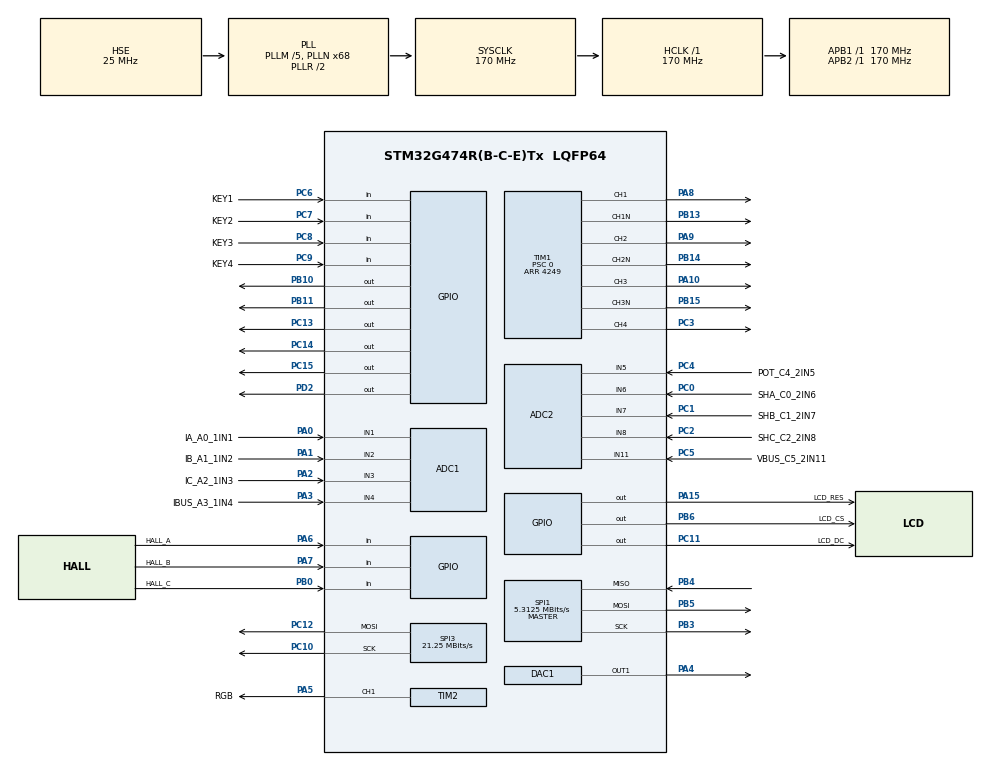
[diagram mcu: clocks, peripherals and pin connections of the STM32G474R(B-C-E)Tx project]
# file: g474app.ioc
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ADC1.ContinuousConvMode=DISABLE
ADC1.EnableInjectedConversion=ENABLE
ADC1.EnableRegularConversion=DISABLE
ADC1.ExternalTrigInjecConv=ADC_EXTERNALTRIGINJEC_T1_TRGO2
ADC1.InjNumberOfConversion=3
ADC1.InjectedChannel-7\#ChannelInjectedConversion=ADC_CHANNEL_1
ADC1.InjectedChannel-8\#ChannelInjectedConversion=ADC_CHANNEL_2
ADC1.InjectedChannel-9\#ChannelInjectedConversion=ADC_CHANNEL_3
ADC1.InjectedOffsetNumber-7\#ChannelInjectedConversion=ADC_OFFSET_NONE
ADC1.InjectedOffsetNumber-8\#ChannelInjectedConversion=ADC_OFFSET_NONE
ADC1.InjectedOffsetNumber-9\#ChannelInjectedConversion=ADC_OFFSET_NONE
ADC1.InjectedRank-7\#ChannelInjectedConversion=1
ADC1.InjectedRank-8\#ChannelInjectedConversion=2
ADC1.InjectedRank-9\#ChannelInjectedConversion=3
ADC1.InjectedSamplingTime-7\#ChannelInjectedConversion=ADC_SAMPLETIME_6CYCLES_5
ADC1.InjectedSamplingTime-8\#ChannelInjectedConversion=ADC_SAMPLETIME_6CYCLES_5
ADC1.InjectedSamplingTime-9\#ChannelInjectedConversion=ADC_SAMPLETIME_6CYCLES_5
ADC1.Rank1_Channel=ADC_CHANNEL_1
ADC1.Rank2_Channel=ADC_CHANNEL_2
ADC1.Rank3_Channel=ADC_CHANNEL_3
ADC1.Rank4_Channel=ADC_CHANNEL_4
ADC1.master=1
ADC2.Channel-0\#ChannelRegularConversion=ADC_CHANNEL_5
ADC2.ContinuousConvMode=DISABLE
ADC2.DiscontinuousConvMode=DISABLE
ADC2.NbrOfConversion=1
ADC2.NbrOfConversionFlag=1
ADC2.OffsetNumber-0\#ChannelRegularConversion=ADC_OFFSET_NONE
ADC2.Rank-0\#ChannelRegularConversion=1
ADC2.SamplingTime-0\#ChannelRegularConversion=ADC_SAMPLETIME_2CYCLES_5
Dma.Request0=SPI3_TX
Dma.Request1=TIM2_CH1
Dma.SPI3_TX.0.Direction=DMA_MEMORY_TO_PERIPH
Dma.SPI3_TX.0.EventEnable=DISABLE
Dma.SPI3_TX.0.Instance=DMA1_Channel1
Dma.SPI3_TX.0.MemDataAlignment=DMA_MDATAALIGN_BYTE
Dma.SPI3_TX.0.MemInc=DMA_MINC_ENABLE
Dma.SPI3_TX.0.Mode=DMA_NORMAL
Dma.SPI3_TX.0.PeriphDataAlignment=DMA_PDATAALIGN_BYTE
Dma.SPI3_TX.0.PeriphInc=DMA_PINC_DISABLE
Dma.SPI3_TX.0.Polarity=HAL_DMAMUX_REQ_GEN_RISING
Dma.SPI3_TX.0.Priority=DMA_PRIORITY_MEDIUM
Dma.SPI3_TX.0.RequestNumber=1
Dma.SPI3_TX.0.SignalID=NONE
Dma.SPI3_TX.0.SyncEnable=DISABLE
Dma.SPI3_TX.0.SyncPolarity=HAL_DMAMUX_SYNC_NO_EVENT
Dma.SPI3_TX.0.SyncRequestNumber=1
Dma.SPI3_TX.0.SyncSignalID=NONE
Dma.TIM2_CH1.1.Direction=DMA_MEMORY_TO_PERIPH
Dma.TIM2_CH1.1.EventEnable=DISABLE
Dma.TIM2_CH1.1.Instance=DMA1_Channel2
Dma.TIM2_CH1.1.MemDataAlignment=DMA_MDATAALIGN_WORD
Dma.TIM2_CH1.1.MemInc=DMA_MINC_ENABLE
Dma.TIM2_CH1.1.Mode=DMA_CIRCULAR
Dma.TIM2_CH1.1.PeriphDataAlignment=DMA_PDATAALIGN_WORD
Dma.TIM2_CH1.1.PeriphInc=DMA_PINC_DISABLE
Dma.TIM2_CH1.1.Polarity=HAL_DMAMUX_REQ_GEN_RISING
Dma.TIM2_CH1.1.Priority=DMA_PRIORITY_HIGH
Dma.TIM2_CH1.1.RequestNumber=1
Dma.TIM2_CH1.1.SignalID=NONE
Dma.TIM2_CH1.1.SyncEnable=DISABLE
Dma.TIM2_CH1.1.SyncPolarity=HAL_DMAMUX_SYNC_NO_EVENT
Dma.TIM2_CH1.1.SyncRequestNumber=1
Dma.TIM2_CH1.1.SyncSignalID=NONE
Mcu.Family=STM32G4
Mcu.Name=STM32G474R(B-C-E)Tx
Mcu.Package=LQFP64
NVIC.ADC1_2_IRQn=true\:0\:0\:false\:false\:true\:true\:true\:true
NVIC.DMA1_Channel1_IRQn=true\:2\:0\:false\:false\:true\:false\:true\:true
NVIC.DMA1_Channel2_IRQn=true\:0\:0\:false\:false\:true\:false\:true\:true
NVIC.PriorityGroup=NVIC_PRIORITYGROUP_4
NVIC.TIM1_UP_TIM16_IRQn=true\:0\:0\:false\:false\:true\:true\:true\:true
NVIC.TIM6_DAC_IRQn=true\:0\:0\:false\:false\:true\:true\:true\:true
NVIC.TIM7_DAC_IRQn=true\:0\:0\:false\:false\:true\:true\:true\:true
PA0.GPIO_Label=IA_A0_1IN1
PA0.Mode=IN1-Single-Ended
PA0.Signal=ADC1_IN1
PA1.GPIO_Label=IB_A1_1IN2
PA1.Mode=IN2-Single-Ended
PA1.Signal=ADC1_IN2
PA10.Signal=S_TIM1_CH3
PA13.Mode=Serial_Wire
PA13.Signal=SYS_JTMS-SWDIO
PA14.Mode=Serial_Wire
PA14.Signal=SYS_JTCK-SWCLK
PA15.GPIO_Label=LCD_RES
PA15.Signal=GPIO_Output
PA2.GPIO_Label=IC_A2_1IN3
PA2.Mode=IN3-Single-Ended
PA2.Signal=ADC1_IN3
PA3.GPIO_Label=IBUS_A3_1IN4
PA3.Mode=IN4-Single-Ended
PA3.Signal=ADC1_IN4
PA4.Signal=COMP_DAC11_group
PA5.GPIO_Label=RGB
PA5.GPIO_Speed=GPIO_SPEED_FREQ_HIGH
PA5.Signal=S_TIM2_CH1
PA6.GPIO_Label=HALL_A
PA6.GPIO_PuPd=GPIO_PULLUP
PA6.Signal=GPIO_Input
PA7.GPIO_Label=HALL_B
PA7.GPIO_PuPd=GPIO_PULLUP
PA7.Signal=GPIO_Input
PA8.Signal=S_TIM1_CH1
PA9.Signal=S_TIM1_CH2
PB0.GPIO_Label=HALL_C
PB0.GPIO_PuPd=GPIO_PULLUP
PB0.Signal=GPIO_Input
PB10.Signal=GPIO_Output
PB11.Signal=GPIO_Output
PB13.Mode=PWM Generation1 CH1 CH1N
PB13.Signal=TIM1_CH1N
PB14.Mode=PWM Generation2 CH2 CH2N
PB14.Signal=TIM1_CH2N
PB15.Mode=PWM Generation3 CH3 CH3N
PB15.Signal=TIM1_CH3N
PB3.Mode=Full_Duplex_Master
PB3.Signal=SPI1_SCK
PB4.Mode=Full_Duplex_Master
PB4.Signal=SPI1_MISO
PB5.GPIO_PuPd=GPIO_PULLUP
PB5.Mode=Full_Duplex_Master
PB5.Signal=SPI1_MOSI
PB6.GPIO_Label=LCD_CS
PB6.Signal=GPIO_Output
PC0.GPIO_Label=SHA_C0_2IN6
PC0.Mode=IN6-Single-Ended
PC0.Signal=ADC2_IN6
PC1.GPIO_Label=SHB_C1_2IN7
PC1.Mode=IN7-Single-Ended
PC1.Signal=ADC2_IN7
PC10.Mode=TX_Only_Simplex_Unidirect_Master
PC10.Signal=SPI3_SCK
PC11.GPIO_Label=LCD_DC
PC11.Signal=GPIO_Output
PC12.Mode=TX_Only_Simplex_Unidirect_Master
PC12.Signal=SPI3_MOSI
PC13.Signal=GPIO_Output
PC14-OSC32_IN.Signal=GPIO_Output
PC15-OSC32_OUT.Signal=GPIO_Output
PC2.GPIO_Label=SHC_C2_2IN8
PC2.Mode=IN8-Single-Ended
PC2.Signal=ADC2_IN8
PC3.Signal=S_TIM1_CH4
PC4.GPIO_Label=POT_C4_2IN5
PC4.Mode=IN5-Single-Ended
PC4.Signal=ADC2_IN5
PC5.GPIO_Label=VBUS_C5_2IN11
PC5.Mode=IN11-Single-Ended
PC5.Signal=ADC2_IN11
PC6.GPIO_Label=KEY1
PC6.Signal=GPIO_Input
PC7.GPIO_Label=KEY2
PC7.Signal=GPIO_Input
PC8.GPIO_Label=KEY3
PC8.Signal=GPIO_Input
PC9.GPIO_Label=KEY4
PC9.Signal=GPIO_Input
PD2.Signal=GPIO_Output
PF0-OSC_IN.Mode=HSE-External-Oscillator
PF0-OSC_IN.Signal=RCC_OSC_IN
PF1-OSC_OUT.Mode=HSE-External-Oscillator
PF1-OSC_OUT.Signal=RCC_OSC_OUT
ProjectManager.HeapSize=0x200
ProjectManager.StackSize=0x400
ProjectManager.TargetToolchain=MDK-ARM V5.32
RCC.ADC12Freq_Value=170000000
RCC.ADC345Freq_Value=170000000
RCC.AHBFreq_Value=170000000
RCC.APB1Freq_Value=170000000
RCC.APB1TimFreq_Value=170000000
RCC.APB2Freq_Value=170000000
RCC.APB2TimFreq_Value=170000000
RCC.CortexFreq_Value=170000000
RCC.EXTERNAL_CLOCK_VALUE=12288000
RCC.HCLKFreq_Value=170000000
RCC.HSE_VALUE=25000000
RCC.HSI48_VALUE=48000000
RCC.HSI_VALUE=16000000
RCC.LSE_VALUE=32768
RCC.PLLM=RCC_PLLM_DIV5
RCC.PLLN=68
RCC.PLLSourceVirtual=RCC_PLLSOURCE_HSE
RCC.SYSCLKFreq_VALUE=170000000
RCC.SYSCLKSource=RCC_SYSCLKSOURCE_PLLCLK
RCC.USBFreq_Value=170000000
RCC.VCOOutputFreq_Value=340000000
SH.COMP_DAC11_group.0=DAC1_OUT1,DAC_OUT1
SH.S_TIM1_CH1.0=TIM1_CH1,PWM Generation1 CH1 CH1N
SH.S_TIM1_CH2.0=TIM1_CH2,PWM Generation2 CH2 CH2N
SH.S_TIM1_CH3.0=TIM1_CH3,PWM Generation3 CH3 CH3N
SH.S_TIM1_CH4.0=TIM1_CH4,PWM Generation4 CH4
SH.S_TIM2_CH1.0=TIM2_CH1,PWM Generation1 CH1
SPI1.BaudRatePrescaler=SPI_BAUDRATEPRESCALER_32
SPI1.CLKPhase=SPI_PHASE_2EDGE
SPI1.CLKPolarity=SPI_POLARITY_HIGH
SPI1.CalculateBaudRate=5.3125 MBits/s
SPI1.DataSize=SPI_DATASIZE_16BIT
SPI1.Direction=SPI_DIRECTION_2LINES
SPI1.FirstBit=SPI_FIRSTBIT_MSB
SPI1.Mode=SPI_MODE_MASTER
SPI1.VirtualType=VM_MASTER
SPI3.BaudRatePrescaler=SPI_BAUDRATEPRESCALER_8
SPI3.CLKPhase=SPI_PHASE_1EDGE
SPI3.CLKPolarity=SPI_POLARITY_HIGH
SPI3.CalculateBaudRate=21.25 MBits/s
SPI3.DataSize=SPI_DATASIZE_8BIT
SPI3.Direction=SPI_DIRECTION_2LINES
SPI3.Mode=SPI_MODE_MASTER
SPI3.VirtualType=VM_MASTER
TIM1.AutoReloadPreload=TIM_AUTORELOAD_PRELOAD_ENABLE
TIM1.BreakState=TIM_BREAK_DISABLE
TIM1.Channel-PWM\ Generation1\ CH1\ CH1N=TIM_CHANNEL_1
TIM1.Channel-PWM\ Generation2\ CH2\ CH2N=TIM_CHANNEL_2
TIM1.Channel-PWM\ Generation3\ CH3\ CH3N=TIM_CHANNEL_3
TIM1.Channel-PWM\ Generation4\ CH4=TIM_CHANNEL_4
TIM1.CounterMode=TIM_COUNTERMODE_CENTERALIGNED2
TIM1.DeadTime=75
TIM1.OCMode_PWM-PWM\ Generation1\ CH1\ CH1N=TIM_OCMODE_PWM2
TIM1.OCMode_PWM-PWM\ Generation2\ CH2\ CH2N=TIM_OCMODE_PWM2
TIM1.OCMode_PWM-PWM\ Generation3\ CH3\ CH3N=TIM_OCMODE_PWM2
TIM1.OCMode_PWM-PWM\ Generation4\ CH4=TIM_OCMODE_PWM1
TIM1.PeriodNoDither=4249
TIM1.Prescaler=0
TIM1.PulseNoDither_4=50
TIM1.TIM_MasterOutputTrigger=TIM_TRGO_RESET
TIM1.TIM_MasterOutputTrigger2=TIM_TRGO2_OC4REF
TIM2.AutoReloadPreload=TIM_AUTORELOAD_PRELOAD_ENABLE
TIM2.Channel-PWM\ Generation1\ CH1=TIM_CHANNEL_1
TIM2.PeriodNoDither=211
TIM6.AutoReloadPreload=TIM_AUTORELOAD_PRELOAD_ENABLE
TIM6.PeriodNoDither=16999
TIM6.TIM_MasterOutputTrigger=TIM_TRGO_UPDATE
TIM7.AutoReloadPreload=TIM_AUTORELOAD_PRELOAD_ENABLE
TIM7.PeriodNoDither=999
TIM7.Prescaler=169
VP_SYS_VS_DBSignals.Mode=DisableDeadBatterySignals
VP_TIM6_VS_ClockSourceINT.Mode=Enable_Timer
VP_TIM7_VS_ClockSourceINT.Mode=Enable_Timer
board=custom

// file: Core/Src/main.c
/* USER CODE BEGIN Header */
/**
  ******************************************************************************
  * @file           : main.c
  * @brief          : Main program body
  ******************************************************************************
  * @attention
  *
  * Copyright (c) 2026 STMicroelectronics.
  * All rights reserved.
  *
  * This software is licensed under terms that can be found in the LICENSE file
  * in the root directory of this software component.
  * If no LICENSE file comes with this software, it is provided AS-IS.
  *
  ******************************************************************************
  */
/* USER CODE END Header */
#include "main.h"
#include "adc.h"
#include "dac.h"
#include "dma.h"
#include "spi.h"
#include "tim.h"
#include "gpio.h"

/* USER CODE BEGIN Includes */
#include "Task.h"
#include <stdio.h>
#include "bsp_adc.h"
#include "bsp_ws2812.h"
#include "user_button.h"
#include "user_display.h"
#include "user_motor.h"
#include "user_system.h"
#include "user_time.h"
/* USER CODE END Includes */

/* USER CODE BEGIN PTD */
unsigned int PT_TICK[TASK_MAX] = {0};
/* USER CODE END PTD */

/* USER CODE BEGIN PD */
int fputc(int ch, FILE *f)
{
    (void)f;
    return ch;
}

int fgetc(FILE *f)
{
    (void)f;
    return 0;
}
/* USER CODE END PD */

/* USER CODE BEGIN PV */
static uint8_t u8RttJscopeUpBuffer[1024];
/* USER CODE END PV */

void SystemClock_Config(void);

/* USER CODE BEGIN 0 */
static void UsrDebugRttInit(void)
{
    SEGGER_RTT_ConfigUpBuffer(0, NULL, NULL, 0, SEGGER_RTT_MODE_NO_BLOCK_SKIP);
    SEGGER_RTT_ConfigUpBuffer(1, "JScope_f32", u8RttJscopeUpBuffer,
                              sizeof(u8RttJscopeUpBuffer), SEGGER_RTT_MODE_NO_BLOCK_TRIM);
    SEGGER_RTT_WriteString(0, "Motor control startup\r\n");
}

/* USER CODE END 0 */

int main(void)
{

  /* MCU Configuration--------------------------------------------------------*/

  /* Reset of all peripherals, Initializes the Flash interface and the Systick. */
  HAL_Init();

  /* Configure the system clock */
  SystemClock_Config();

  /* Initialize all configured peripherals */
  MX_GPIO_Init();
  MX_DMA_Init();
  MX_SPI3_Init();
  MX_ADC2_Init();
  MX_ADC1_Init();
  MX_TIM1_Init();
  MX_TIM6_Init();
  MX_TIM7_Init();
  MX_SPI1_Init();
  MX_TIM2_Init();
  MX_DAC1_Init();
  /* USER CODE BEGIN 2 */

  HAL_Delay(100u);
  HAL_ADCEx_Calibration_Start(&hadc1, ADC_SINGLE_ENDED);
  HAL_ADCEx_Calibration_Start(&hadc2, ADC_SINGLE_ENDED);

// HAL_DAC_SetValue(&hdac1,
//                  DAC_CHANNEL_1,
//                  DAC_ALIGN_12B_R,
//                  2048u);
// HAL_DAC_Start(&hdac1, DAC_CHANNEL_1);
/* 等待DAC、U6和电流采样运放稳定 */
// HAL_Delay(100u);
  // BspAdcPreOffset();
  // BspAdcPreOffset();
  UsrDebugRttInit();
  // HAL_Delay(500u);
  BspAdcPreOffset();
  HAL_Delay(100u);
  /* Send the initial-state color before motor startup can block the task loop. */
  BspWs2812Init();
  if (BspWs2812WriteColor(32u, 20u, 0u) != HAL_OK)
  {
      SEGGER_RTT_WriteString(0, "WS2812 start failed\r\n");
  }
  HAL_Delay(100u);
  HAL_StatusTypeDef MotorStatus;

  UsrMotorInit();

  UsrMotorStart();

  HAL_TIM_Base_Start_IT(&htim7);

  /* Fixed-PWM PA5 test (do not enable while using the WS2812 DMA driver). */
// HAL_TIM_PWM_Start(&htim2, TIM_CHANNEL_1);  // 启动PWM输出

// __HAL_TIM_SET_COMPARE(&htim2, TIM_CHANNEL_1, 106);  // 设置约50%占空比

// HAL_Delay(1000u);

  /* USER CODE END 2 */

  /* Infinite loop */
  /* USER CODE BEGIN WHILE */
  while (1)
  {
    PT_TASK_REG(0, UsrDisplayTask);
    PT_TASK_REG(1, UsrButtonTask);
    PT_TASK_REG(2, UsrSystemTask);
    PT_TASK_REG(3, UsrTimeTask);
    /* USER CODE END WHILE */

  }
}

void SystemClock_Config(void)
{
  RCC_OscInitTypeDef RCC_OscInitStruct = {0};
  RCC_ClkInitTypeDef RCC_ClkInitStruct = {0};

  /** Configure the main internal regulator output voltage
  */
  HAL_PWREx_ControlVoltageScaling(PWR_REGULATOR_VOLTAGE_SCALE1_BOOST);

  /** Initializes the RCC Oscillators according to the specified parameters
  * in the RCC_OscInitTypeDef structure.
  */
  RCC_OscInitStruct.OscillatorType = RCC_OSCILLATORTYPE_HSE;
  RCC_OscInitStruct.HSEState = RCC_HSE_ON;
  RCC_OscInitStruct.PLL.PLLState = RCC_PLL_ON;
  RCC_OscInitStruct.PLL.PLLSource = RCC_PLLSOURCE_HSE;
  RCC_OscInitStruct.PLL.PLLM = RCC_PLLM_DIV5;
  RCC_OscInitStruct.PLL.PLLN = 68;
  RCC_OscInitStruct.PLL.PLLP = RCC_PLLP_DIV2;
  RCC_OscInitStruct.PLL.PLLQ = RCC_PLLQ_DIV2;
  RCC_OscInitStruct.PLL.PLLR = RCC_PLLR_DIV2;
  if (HAL_RCC_OscConfig(&RCC_OscInitStruct) != HAL_OK)
  {
    Error_Handler();
  }

  /** Initializes the CPU, AHB and APB buses clocks
  */
  RCC_ClkInitStruct.ClockType = RCC_CLOCKTYPE_HCLK|RCC_CLOCKTYPE_SYSCLK
                              |RCC_CLOCKTYPE_PCLK1|RCC_CLOCKTYPE_PCLK2;
  RCC_ClkInitStruct.SYSCLKSource = RCC_SYSCLKSOURCE_PLLCLK;
  RCC_ClkInitStruct.AHBCLKDivider = RCC_SYSCLK_DIV1;
  RCC_ClkInitStruct.APB1CLKDivider = RCC_HCLK_DIV1;
  RCC_ClkInitStruct.APB2CLKDivider = RCC_HCLK_DIV1;

  if (HAL_RCC_ClockConfig(&RCC_ClkInitStruct, FLASH_LATENCY_4) != HAL_OK)
  {
    Error_Handler();
  }
}

/* USER CODE BEGIN 4 */
void HAL_TIM_PeriodElapsedCallback(TIM_HandleTypeDef *htim)
{
  static uint32_t TickCount = 0u;
    if (htim->Instance == TIM7)
    {
        UsrMotorSpeedLoop();   /* 1kHz 速度环：编码器读取 + 速度PI */
        TASK_TICK_UPDATE();
        if (++TickCount == 5u)
        {
          TickCount = 0u;
          button_ticks();
        }

    }
}
/* USER CODE END 4 */

void Error_Handler(void)
{
  /* USER CODE BEGIN Error_Handler_Debug */

  uint32_t ipsr;
  uint32_t primask;
  uint32_t control;
  uint32_t msp;
  uint32_t psp;
  uint32_t icsr;

  primask = __get_PRIMASK();

  __disable_irq();
  __DSB();
  __ISB();

  ipsr    = __get_IPSR();
  control = __get_CONTROL();
  msp     = __get_MSP();
  psp     = __get_PSP();
  icsr    = SCB->ICSR;

  SEGGER_RTT_WriteString(0,
                         "\r\n"
                         "========================================\r\n"
                         "*** Error_Handler ***\r\n"
                         "========================================\r\n");

  SEGGER_RTT_printf(0,
                    "Tick       : %u ms\r\n",
                    (unsigned int)HAL_GetTick());

  SEGGER_RTT_printf(0,
                    "CPUID      : 0x%08X\r\n",
                    (unsigned int)SCB->CPUID);

  SEGGER_RTT_printf(0,
                    "IPSR       : 0x%08X\r\n",
                    (unsigned int)ipsr);

  if (ipsr == 0U)
  {
    SEGGER_RTT_WriteString(0,
                           "Context    : Thread mode\r\n");
  }
  else if (ipsr >= 16U)
  {
    SEGGER_RTT_printf(0,
                      "Context    : External IRQ, IRQn = %u\r\n",
                      (unsigned int)(ipsr - 16U));
  }
  else
  {
    SEGGER_RTT_printf(0,
                      "Context    : System exception %u\r\n",
                      (unsigned int)ipsr);
  }

  SEGGER_RTT_printf(0,
                    "MSP        : 0x%08X\r\n",
                    (unsigned int)msp);

  SEGGER_RTT_printf(0,
                    "PSP        : 0x%08X\r\n",
                    (unsigned int)psp);

  SEGGER_RTT_printf(0,
                    "CONTROL    : 0x%08X\r\n",
                    (unsigned int)control);

  SEGGER_RTT_printf(0,
                    "PRIMASK    : 0x%08X\r\n",
                    (unsigned int)primask);

  SEGGER_RTT_printf(0,
                    "ICSR       : 0x%08X\r\n",
                    (unsigned int)icsr);

  SEGGER_RTT_printf(0,
                    "VECTACTIVE : %u\r\n",
                    (unsigned int)(icsr & 0x1FFU));

  SEGGER_RTT_printf(0,
                    "VECTPENDING: %u\r\n",
                    (unsigned int)((icsr >> 12U) & 0x1FFU));

  SEGGER_RTT_printf(0,
                    "SHCSR      : 0x%08X\r\n",
                    (unsigned int)SCB->SHCSR);

#if defined(__CORTEX_M) && (__CORTEX_M >= 3U) && (__CORTEX_M != 23U)

  {
    uint32_t cfsr = SCB->CFSR;

    SEGGER_RTT_WriteString(0,
                           "------------ Fault status ------------\r\n");

    SEGGER_RTT_printf(0,
                      "BASEPRI    : 0x%08X\r\n",
                      (unsigned int)__get_BASEPRI());

    SEGGER_RTT_printf(0,
                      "FAULTMASK  : 0x%08X\r\n",
                      (unsigned int)__get_FAULTMASK());

    SEGGER_RTT_printf(0,
                      "CFSR       : 0x%08X\r\n",
                      (unsigned int)cfsr);

    SEGGER_RTT_printf(0,
                      "MMFSR      : 0x%02X\r\n",
                      (unsigned int)(cfsr & 0xFFU));

    SEGGER_RTT_printf(0,
                      "BFSR       : 0x%02X\r\n",
                      (unsigned int)((cfsr >> 8U) & 0xFFU));

    SEGGER_RTT_printf(0,
                      "UFSR       : 0x%04X\r\n",
                      (unsigned int)((cfsr >> 16U) & 0xFFFFU));

    SEGGER_RTT_printf(0,
                      "HFSR       : 0x%08X\r\n",
                      (unsigned int)SCB->HFSR);

    SEGGER_RTT_printf(0,
                      "DFSR       : 0x%08X\r\n",
                      (unsigned int)SCB->DFSR);

    SEGGER_RTT_printf(0,
                      "AFSR       : 0x%08X\r\n",
                      (unsigned int)SCB->AFSR);

    if ((cfsr & (1UL << 7U)) != 0U)
    {
      SEGGER_RTT_printf(0,
                        "MMFAR      : 0x%08X valid\r\n",
                        (unsigned int)SCB->MMFAR);
    }
    else
    {
      SEGGER_RTT_WriteString(0,
                             "MMFAR      : invalid\r\n");
    }

    if ((cfsr & (1UL << 15U)) != 0U)
    {
      SEGGER_RTT_printf(0,
                        "BFAR       : 0x%08X valid\r\n",
                        (unsigned int)SCB->BFAR);
    }
    else
    {
      SEGGER_RTT_WriteString(0,
                             "BFAR       : invalid\r\n");
    }
  }

#endif

  SEGGER_RTT_WriteString(0,
                         "========================================\r\n"
                         "System halted\r\n"
                         "========================================\r\n");

  while (1)
  {
    __NOP();
  }

  /* USER CODE END Error_Handler_Debug */
}

#ifdef  USE_FULL_ASSERT
/**
  * @brief  Reports the name of the source file and the source line number
  *         where the assert_param error has occurred.
  * @param  file: pointer to the source file name
  * @param  line: assert_param error line source number
  * @retval None
  */
void assert_failed(uint8_t *file, uint32_t line)
{
  /* USER CODE BEGIN 6 */
  SEGGER_RTT_WriteString(0, "\r\n*** ASSERT FAILED *** ");
  SEGGER_RTT_WriteString(0, (const char *)file);
  SEGGER_RTT_printf(0, " Line=%lu\r\n", (unsigned long)line);
  __disable_irq();
  while (1)
  {
  }
  /* USER CODE END 6 */
}
#endif /* USE_FULL_ASSERT */
